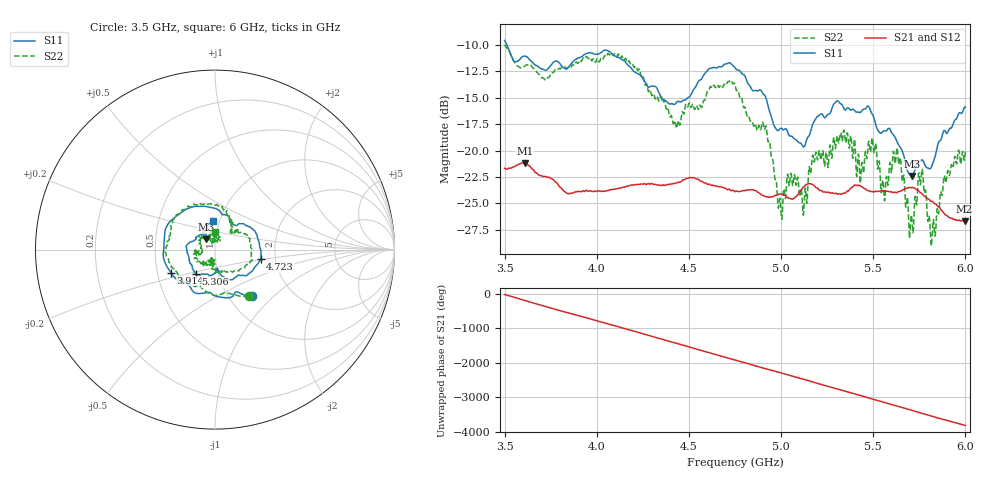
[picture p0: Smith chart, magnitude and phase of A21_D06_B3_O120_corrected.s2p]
! Created with skrf 1.9.0 (http://scikit-rf.org).
# Hz S RI R 50.0
!freq ReS11 ImS11 ReS21 ImS21 ReS12 ImS12 ReS22 ImS22
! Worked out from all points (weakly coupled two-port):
!   1601 points, 3.5 GHz to 6 GHz, reference 50 ohm
!   highest |S21| = -21.16 dB at 3.609 GHz (marker M1); lowest = -26.7 dB at 5.995 GHz (marker M2)
!   lowest |S11| = -22.4 dB at 5.709 GHz (marker M3), VSWR 1.16, Z = 44.9 + j5.14 ohm
!   |S11| at or under -10 dB: 3.513 GHz to end of sweep
!   |S22| runs from -29.0 to -10.0 dB; largest |S21 - S12| = 0.00096
!   S11 on the Smith chart (normalised r, x): 3.5 GHz: 1.28, -0.75; 3.914 GHz: 0.59, -0.16; 4.723 GHz: 1.67, -0.19; 5.306 GHz: 0.78, -0.22; 6 GHz: 0.93, +0.31
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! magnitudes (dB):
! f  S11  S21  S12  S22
! 3.5 GHz  -9.6  -21.7  -21.6  -10.0
! 3.609 GHz  -11.1  -21.2  -21.2  -12.0
! 3.914 GHz  -11.1  -23.9  -23.8  -11.5
! 3.917 GHz  -11.1  -23.9  -23.8  -11.5
! 4.334 GHz  -14.4  -23.3  -23.2  -15.2
! 4.441 GHz  -15.3  -23.0  -23.0  -17.3
! 4.723 GHz  -11.7  -23.7  -23.6  -13.4
! 4.75 GHz  -12.2  -23.9  -23.8  -13.8
! 4.911 GHz  -14.8  -24.3  -24.3  -18.0
! 4.995 GHz  -17.9  -24.1  -24.0  -24.5
! 5.045 GHz  -18.6  -24.5  -24.5  -23.3
! 5.13 GHz  -19.5  -23.3  -23.3  -23.7
! 5.167 GHz  -17.7  -23.2  -23.1  -20.9
! 5.306 GHz  -15.3  -24.1  -24.0  -18.6
! 5.584 GHz  -17.9  -23.9  -23.8  -22.4
! 5.638 GHz  -19.4  -23.9  -23.8  -21.2
! 5.709 GHz  -22.4  -23.5  -23.4  -26.4
! 5.756 GHz  -21.0  -24.0  -23.9  -23.2
! 5.825 GHz  -21.1  -24.9  -24.8  -26.7
! 5.894 GHz  -18.3  -26.1  -26.0  -23.0
! 5.995 GHz  -15.9  -26.7  -26.6  -20.8
! 6 GHz  -15.9  -26.7  -26.6  -19.9
